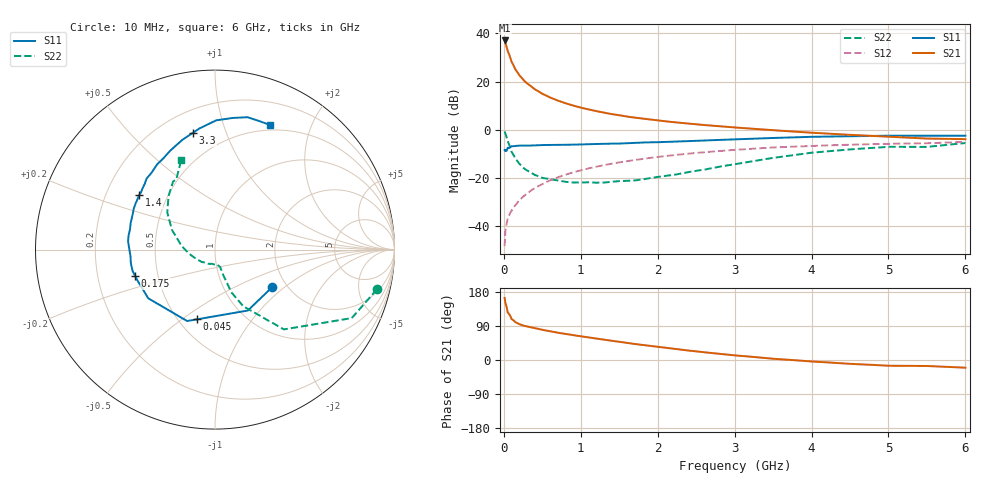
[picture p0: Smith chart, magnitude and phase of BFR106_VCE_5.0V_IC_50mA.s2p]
! Infineon Technologies  Discrete & RF Semiconductors
! BFR106
! VCE =  5.0 V,  IC =  50 mA
! Common Emitter S-Parameters:  Nov 2015
# GHz  S  MA  R  50
!  f  S11  S21  S12  S22
! GHz  MAG  ANG  MAG  ANG  MAG  ANG  MAG  ANG
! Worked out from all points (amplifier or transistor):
!   210 points, 10 MHz to 6 GHz, reference 50 ohm
!   highest |S21| = 37.1 dB at 10 MHz (marker M1)
!   |S21| within 3 dB of that: start of sweep to 38.45 MHz
!   unconditionally stable (mu >= 1): 253.9 MHz to 2.261 GHz
!   at 185 MHz: K = 0.93, MSG = 26.6 dB, |S12| = -29.8 dB
!   at 1.52 GHz: K = 1.05, MAG = 8.3 dB, |S12| = -13.4 dB
!   at 6 GHz: K = 0.99, MSG = 0.6 dB, |S12| = -5.0 dB
!   S11 on the Smith chart (normalised r, x): 10 MHz: 1.69, -0.82; 45 MHz: 0.62, -0.57; 175 MHz: 0.37, -0.14; 1.4 GHz: 0.34, +0.29; 3.3 GHz: 0.33, +0.77; 6 GHz: 0.44, +1.44
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0.01  0.3815 -33.1  71.37 163.8  0.0039 80.6  0.9289 -13.8
0.02  0.3856 -61.7  64.62 150.9  0.008 69.3  0.8522 -26.6
0.045  0.4007 -104.3  46.4 131.4  0.0134 61.5  0.6229 -44.2
0.05  0.4272 -111.3  43.72 125.7  0.0145 60.6  0.5872 -49.2
0.1  0.4604 -143.9  25.93 108.2  0.0213 61.4  0.3539 -63.4
0.15  0.4655 -158.2  17.93 99.6  0.0277 64.2  0.2534 -69.2
0.175  0.469 -161.9  15.81 97.5  0.031 66.0  0.2267 -69.5
0.2  0.4744 -165.6  13.72 94.8  0.0344 67.4  0.2001 -69.9
0.26  0.4743 -171.9  10.65 90.5  0.0425 69.3  0.1602 -71.6
0.3  0.4721 -175.0  9.24 88.3  0.0479 70.5  0.145 -72.3
0.4  0.4775 179.3  6.996 83.8  0.0619 71.5  0.1172 -73.1
0.5  0.4865 174.6  5.613 79.6  0.0753 71.7  0.1015 -73.4
0.6  0.4879 170.6  4.701 75.8  0.0901 71.3  0.0949 -75.4
0.8  0.4919 163.3  3.572 68.8  0.1176 69.6  0.0842 -82.2
1.02  0.5012 155.6  2.847 61.8  0.1479 67.2  0.0819 -89.5
1.4  0.5212 144.4  2.128 50.8  0.1992 62.3  0.0842 -108.5
2.02  0.5579 128.7  1.558 34.2  0.2776 53.2  0.107 -144.8
3.1  0.6457 104.5  1.095 10.6  0.3947 36.9  0.2065 167.2
3.3  0.6618 100.8  1.038 7.1  0.4132 33.8  0.2337 160.6
4.1  0.7231 88.1  0.857 -5.0  0.4732 22.0  0.3473 139.6
5.1  0.7585 75.0  0.711 -15.2  0.5193 9.3  0.4457 121.0
6  0.7588 66.2  0.644 -20.3  0.5646 -0.5  0.5355 110.5
